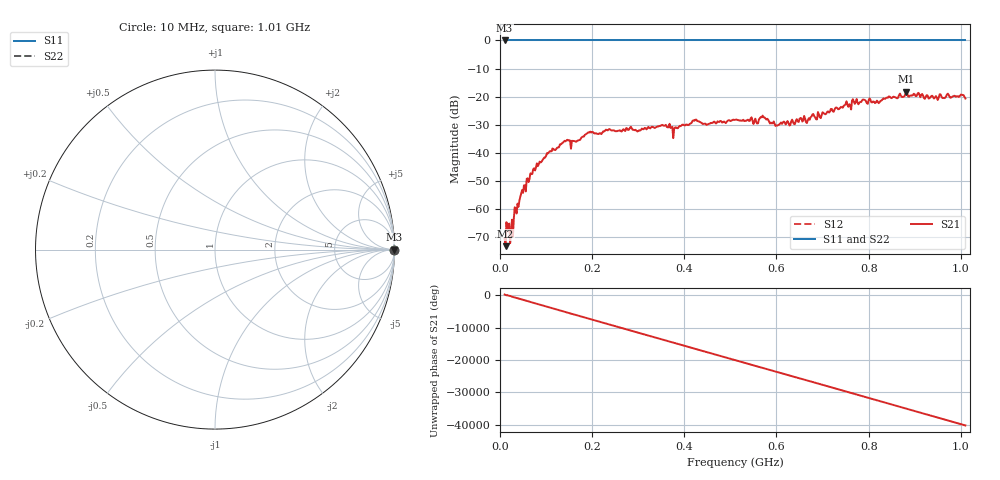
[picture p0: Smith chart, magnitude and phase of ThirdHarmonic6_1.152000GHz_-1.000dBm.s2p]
! 8/16/2025 11:27:18 AM
! C:\ANRITSUVNA\TEMP\TEMP.S2P
! CHANNEL.1
! TR.MEASUREMENT
! RAW.DATA
! RF.CORRECTION.OFF
! AVERAGING.OFF
! IF.BANDWIDTH: 5KHZ
! SWEEPTYPE:  FREQ.SWEEP(Linear)
! Reference Plane Port Info
! PORT:  PORT1  PORT2
! DISTANCE:  0  m  0  m
! TIME:  0  s  0  s
! PHASE.OFFSET:  0  deg.  0  deg.
! LOSS:  0  dB  0  dB
! REF.LOSS:  0  dB  0  dB
! REF.FREQ:  0  Hz  0  Hz
! Power Info
! POWER:  -20  dBm  -20  dBm
! EFF.POWER:  -20  dBm  -20  dBm
! SOURCE.ATTEN:  0  dB  0  dB
! TEST.ATTEN:  0  dB  0  dB
# GHZ S RI R 50.0
! FREQ.GHZ  S11RE  S11IM  S21RE  S21IM  S12RE  S12IM  S22RE  S22IM
!; PortSelection: Port_12
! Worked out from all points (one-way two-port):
!   501 points, 10 MHz to 1.01 GHz, reference 50 ohm
!   highest |S21| = -18.29 dB at 882 MHz (marker M1); lowest = -73.2 dB at 12 MHz (marker M2)
!   lowest |S11| = 0.0 dB at 10 MHz (marker M3)
!   |S11| at or under -10 dB: nowhere
!   |S22| runs from 0.0 to 0.0 dB; largest |S21 - S12| = 1.1
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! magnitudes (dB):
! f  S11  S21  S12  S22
! 10 MHz  0.0  -70.4  0.0  0.0
! 12 MHz  0.0  -73.2  0.0  0.0
! 16 MHz  0.0  -67.9  0.0  0.0
! 26 MHz  0.0  -63.8  0.0  0.0
! 34 MHz  0.0  -59.8  0.0  0.0
! 48 MHz  0.0  -53.2  0.0  0.0
! 76 MHz  0.0  -46.3  0.0  0.0
! 142 MHz  0.0  -35.9  0.0  0.0
! 178 MHz  0.0  -34.4  0.0  0.0
! 196 MHz  0.0  -32.5  0.0  0.0
! 344 MHz  0.0  -30.6  0.0  0.0
! 380 MHz  0.0  -31.0  0.0  0.0
! 422 MHz  0.0  -28.6  0.0  0.0
! 510 MHz  0.0  -28.3  0.0  0.0
! 554 MHz  0.0  -27.9  0.0  0.0
! 570 MHz  0.0  -26.8  0.0  0.0
! 602 MHz  0.0  -30.3  0.0  0.0
! 678 MHz  0.0  -26.3  0.0  0.0
! 770 MHz  0.0  -22.6  0.0  0.0
! 844 MHz  0.0  -19.9  0.0  0.0
! 882 MHz  0.0  -18.3  0.0  0.0
! 1.01 GHz  0.0  -20.7  0.0  0.0
